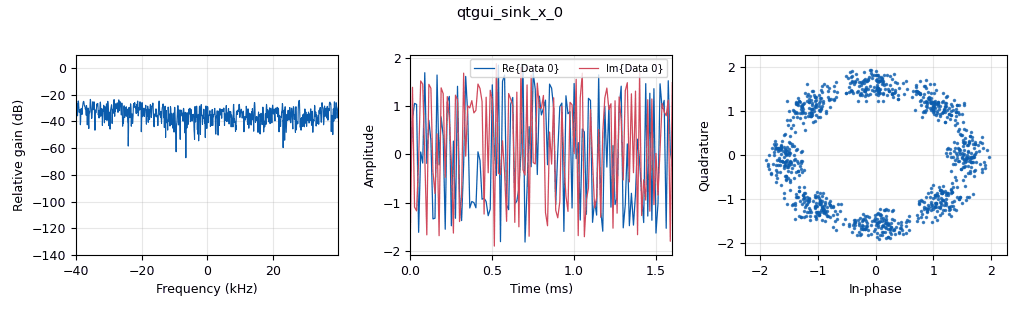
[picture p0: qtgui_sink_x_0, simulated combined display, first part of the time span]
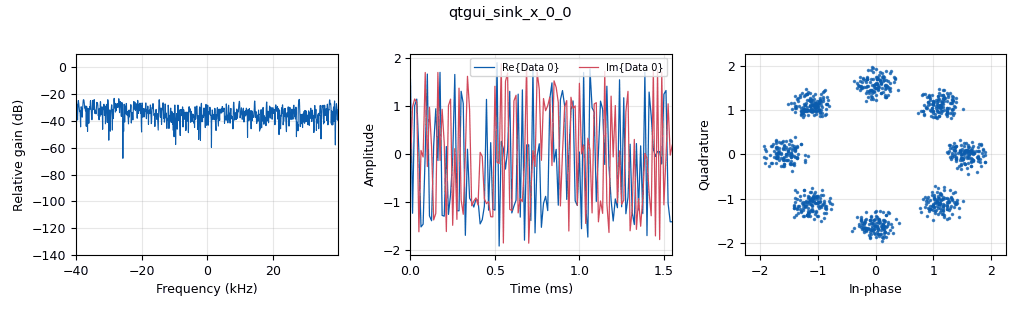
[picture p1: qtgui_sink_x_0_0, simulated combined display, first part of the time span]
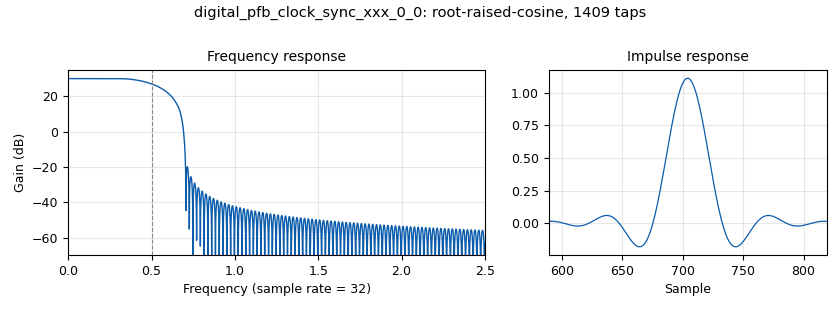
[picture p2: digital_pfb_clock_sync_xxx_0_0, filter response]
options:
  parameters:
    author: Mayur Ware
    generate_options: qt_gui
    id: lab9_5
    output_language: python
    title: Lab9_Part5
  states: {}

blocks:
- name: const_points
  id: variable
  parameters:
    value: '4'
  states: {}
- name: excess_bw
  id: variable
  parameters:
    value: '0.4'
  states: {}
- name: nfilts
  id: variable
  parameters:
    value: '32'
  states: {}
- name: ntaps
  id: variable
  parameters:
    value: 11*nfilts*sps
  states: {}
- name: rx_taps
  id: variable
  parameters:
    value: firdes.root_raised_cosine(nfilts, nfilts, 1.0, excess_bw, ntaps)
  states: {}
- name: samp_rate
  id: variable
  parameters:
    value: '320000'
  states: {}
- name: samp_rate_2
  id: variable
  parameters:
    value: '20000'
  states: {}
- name: sps
  id: variable
  parameters:
    value: '4'
  states: {}
- name: timing_bw
  id: variable
  parameters:
    value: 2*pi/100
  states: {}
- name: tx_taps
  id: variable
  parameters:
    value: firdes.root_raised_cosine(nfilts, nfilts, 1.0, excess_bw, ntaps)
  states: {}
- name: analog_random_source_x_0
  id: analog_random_source_x
  parameters:
    max: '8'
    min: '0'
    num_samps: '1000'
    repeat: 'True'
    type: byte
  states: {}
- name: analog_sig_source_x_0
  id: analog_sig_source_x
  parameters:
    amp: '1'
    freq: 10e3
    offset: '0'
    phase: '0'
    samp_rate: samp_rate
    type: complex
    waveform: analog.GR_SIN_WAVE
  states: {}
- name: blocks_complex_to_arg_0
  id: blocks_complex_to_arg
  parameters: {}
  states: {}
- name: blocks_conjugate_cc_0
  id: blocks_conjugate_cc
  parameters: {}
  states: {}
- name: blocks_delay_1
  id: blocks_delay
  parameters:
    delay: '1'
    type: complex
  states: {}
- name: blocks_multiply_const_vxx_0
  id: blocks_multiply_const_vxx
  parameters:
    const: '0.125'
    type: float
  states: {}
- name: blocks_multiply_xx_0
  id: blocks_multiply_xx
  parameters:
    type: complex
  states: {}
- name: blocks_multiply_xx_1
  id: blocks_multiply_xx
  parameters:
    type: complex
  states: {}
- name: blocks_multiply_xx_2
  id: blocks_multiply_xx
  parameters:
    type: complex
  states: {}
- name: blocks_multiply_xx_3_0
  id: blocks_multiply_xx
  parameters:
    num_inputs: '4'
    type: complex
  states: {}
- name: blocks_multiply_xx_3_0_0
  id: blocks_multiply_xx
  parameters:
    type: complex
  states: {}
- name: blocks_null_sink_0
  id: blocks_null_sink
  parameters:
    type: complex
  states: {}
- name: blocks_throttle_1
  id: blocks_throttle
  parameters:
    samples_per_second: samp_rate/4
    type: complex
  states: {}
- name: blocks_throttle_1_0
  id: blocks_throttle
  parameters:
    samples_per_second: samp_rate/4
    type: complex
  states: {}
- name: blocks_vco_c_0
  id: blocks_vco_c
  parameters:
    amplitude: '1'
    samp_rate: samp_rate/4
    sensitivity: '-samp_rate/4'
  states: {}
- name: digital_chunks_to_symbols_xx_0
  id: digital_chunks_to_symbols_xx
  parameters:
    dimension: '1'
    in_type: byte
    out_type: complex
    symbol_table: '[sqrt(2), 1+1j, sqrt(2)*1j, -1+1j, -sqrt(2), -1-1j, -sqrt(2)*1j, 1-1j]'
  states: {}
- name: digital_pfb_clock_sync_xxx_0_0
  id: digital_pfb_clock_sync_xxx
  parameters:
    filter_size: nfilts
    init_phase: '16'
    loop_bw: timing_bw
    max_dev: '1.5'
    osps: '1'
    sps: sps
    taps: rx_taps
    type: ccf
  states: {}
- name: import_0
  id: import
  parameters:
    imports: from math import pi
  states: {}
- name: import_0_0
  id: import
  parameters:
    imports: from gnuradio import digital
  states: {}
- name: import_0_0_0
  id: import
  parameters:
    imports: from gnuradio import filter
  states: {}
- name: import_0_0_0_0
  id: import
  parameters:
    imports: from math import sqrt
  states: {}
- name: pfb_arb_resampler_xxx_0
  id: pfb_arb_resampler_xxx
  parameters:
    atten: '100'
    nfilts: '32'
    rrate: sps
    taps: tx_taps
    type: ccf
  states: {}
- name: qtgui_sink_x_0
  id: qtgui_sink_x
  parameters:
    bw: samp_rate/4
    fc: '0'
    fftsize: '1024'
    showports: 'True'
    type: complex
    wintype: firdes.WIN_BLACKMAN_hARRIS
  states: {}
- name: qtgui_sink_x_0_0
  id: qtgui_sink_x
  parameters:
    bw: samp_rate/4
    fc: '0'
    fftsize: '1024'
    showports: 'True'
    type: complex
    wintype: firdes.WIN_BLACKMAN_hARRIS
  states: {}

connections:
- [analog_random_source_x_0, '0', digital_chunks_to_symbols_xx_0, '0']
- [analog_sig_source_x_0, '0', blocks_multiply_xx_0, '1']
- [blocks_complex_to_arg_0, '0', blocks_multiply_const_vxx_0, '0']
- [blocks_conjugate_cc_0, '0', blocks_multiply_xx_2, '1']
- [blocks_delay_1, '0', blocks_conjugate_cc_0, '0']
- [blocks_multiply_const_vxx_0, '0', blocks_vco_c_0, '0']
- [blocks_multiply_xx_0, '0', digital_pfb_clock_sync_xxx_0_0, '0']
- [blocks_multiply_xx_1, '0', blocks_null_sink_0, '0']
- [blocks_multiply_xx_1, '0', blocks_throttle_1, '0']
- [blocks_multiply_xx_2, '0', blocks_complex_to_arg_0, '0']
- [blocks_multiply_xx_3_0, '0', blocks_multiply_xx_3_0_0, '0']
- [blocks_multiply_xx_3_0, '0', blocks_multiply_xx_3_0_0, '1']
- [blocks_multiply_xx_3_0_0, '0', blocks_delay_1, '0']
- [blocks_multiply_xx_3_0_0, '0', blocks_multiply_xx_2, '0']
- [blocks_throttle_1, '0', qtgui_sink_x_0, '0']
- [blocks_throttle_1_0, '0', qtgui_sink_x_0_0, '0']
- [blocks_vco_c_0, '0', blocks_multiply_xx_1, '1']
- [digital_chunks_to_symbols_xx_0, '0', pfb_arb_resampler_xxx_0, '0']
- [digital_pfb_clock_sync_xxx_0_0, '0', blocks_multiply_xx_1, '0']
- [digital_pfb_clock_sync_xxx_0_0, '0', blocks_multiply_xx_3_0, '0']
- [digital_pfb_clock_sync_xxx_0_0, '0', blocks_multiply_xx_3_0, '1']
- [digital_pfb_clock_sync_xxx_0_0, '0', blocks_multiply_xx_3_0, '2']
- [digital_pfb_clock_sync_xxx_0_0, '0', blocks_multiply_xx_3_0, '3']
- [digital_pfb_clock_sync_xxx_0_0, '0', blocks_throttle_1_0, '0']
- [pfb_arb_resampler_xxx_0, '0', blocks_multiply_xx_0, '0']

metadata:
  file_format: 1
